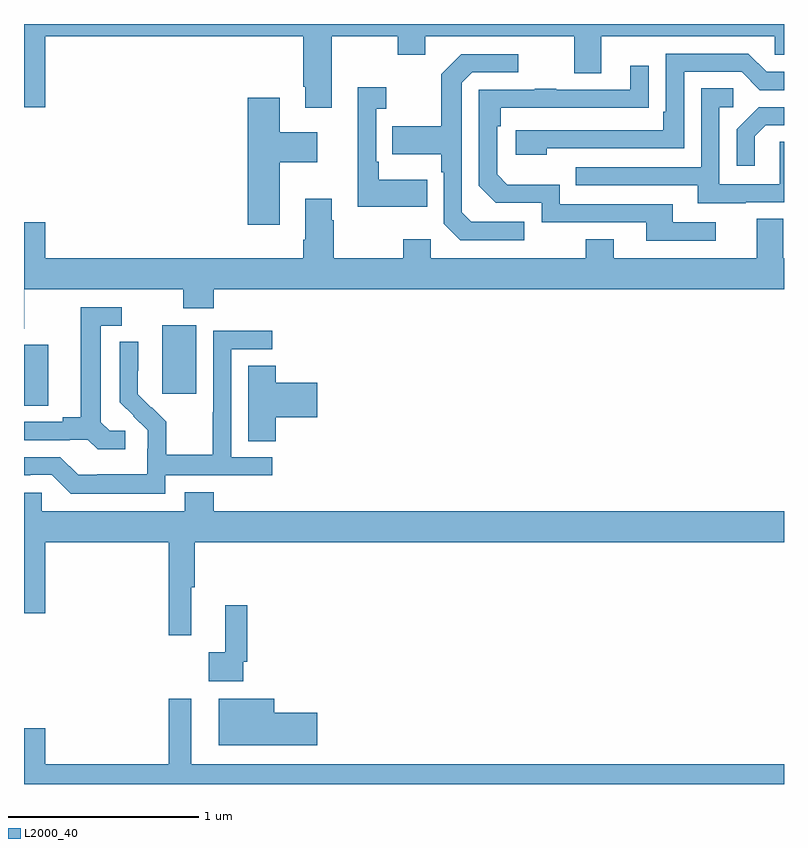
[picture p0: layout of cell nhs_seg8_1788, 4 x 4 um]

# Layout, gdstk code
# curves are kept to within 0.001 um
import gdstk
lib = gdstk.Library(unit=1e-6, precision=1e-09)
def R(c, l, rs):  # rectangles x0, y0, x1, y1
    for r in rs: c.add(gdstk.rectangle(r[:2], r[2:], *l))
def P(c, l, *ps):  # polygons
    for p in ps: c.add(gdstk.Polygon(p, *l))
L2000_40 = (2000, 40)

nhs_seg8_1788 = lib.new_cell('nhs_seg8_1788')
R(nhs_seg8_1788, L2000_40, [(225,1111.891,225.127,1112.211), (225.728,1111.953,225.907,1112.314)])
P(nhs_seg8_1788, L2000_40, [(226.621,1113.836),(226.966,1113.836),(226.966,1113.737),(227.113,1113.737),(227.113,1113.836),(227.897,1113.836),(227.897,1113.642),(228.037,1113.642),(228.037,1113.836),(228.951,1113.836),(228.951,1113.738),(229,1113.738),(229,1113.9),(225,1113.9),(225,1113.462),(225.112,1113.462),(225.112,1113.836),(226.469,1113.836),(226.469,1113.571),(226.481,1113.571),(226.481,1113.459),(226.621,1113.459)],
  [(227.75,1113.246),(228.474,1113.246),(228.474,1113.648),(228.777,1113.648),(228.873,1113.552),(229,1113.552),(229,1113.648),(228.909,1113.648),(228.813,1113.744),(228.378,1113.744),(228.378,1113.439),(228.365,1113.439),(228.365,1113.342),(227.589,1113.342),(227.589,1113.212),(227.75,1113.212)],
  [(227.632,1112.859),(227.355,1112.859),(227.304,1112.91),(227.304,1113.591),(227.358,1113.645),(227.602,1113.645),(227.602,1113.741),(227.301,1113.741),(227.196,1113.635),(227.196,1113.363),(226.939,1113.363),(226.939,1113.215),(227.196,1113.215),(227.196,1113.119),(227.208,1113.119),(227.208,1112.85),(227.295,1112.763),(227.632,1112.763)],
  [(228.64,1112.856),(228.415,1112.856),(228.415,1112.952),(227.82,1112.952),(227.82,1113.055),(227.543,1113.055),(227.49,1113.108),(227.49,1113.362),(227.51,1113.362),(227.51,1113.459),(228.287,1113.46),(228.287,1113.679),(228.191,1113.679),(228.191,1113.555),(227.801,1113.555),(227.801,1113.56),(227.689,1113.56),(227.689,1113.555),(227.394,1113.555),(227.394,1113.048),(227.484,1112.958),(227.724,1112.958),(227.724,1112.856),(228.275,1112.856),(228.275,1112.76),(228.64,1112.76)],
  [(227.123,1113.079),(226.867,1113.079),(226.867,1113.175),(226.854,1113.175),(226.854,1113.455),(226.906,1113.455),(226.906,1113.568),(226.757,1113.568),(226.757,1112.939),(227.123,1112.939)],
  [(228.799,1112.961),(229,1112.961),(229,1113.281),(228.978,1113.281),(228.978,1113.057),(228.66,1113.057),(228.66,1113.462),(228.733,1113.462),(228.733,1113.563),(228.564,1113.563),(228.564,1113.147),(227.905,1113.147),(227.905,1113.051),(228.545,1113.051),(228.545,1112.957),(228.799,1112.957)],
  [(226.345,1113.173),(226.543,1113.173),(226.543,1113.331),(226.345,1113.331),(226.345,1113.511),(226.178,1113.511),(226.178,1112.844),(226.345,1112.844)],
  [(228.847,1113.309),(228.904,1113.366),(229,1113.366),(229,1113.462),(228.866,1113.462),(228.75,1113.346),(228.75,1113.153),(228.847,1113.153)],
  [(225.001,1112.504),(225.838,1112.504),(225.838,1112.405),(225.998,1112.405),(225.998,1112.504),(229,1112.504),(229,1112.668),(228.997,1112.668),(228.997,1112.876),(228.857,1112.876),(228.857,1112.668),(228.103,1112.668),(228.103,1112.767),(227.956,1112.767),(227.956,1112.668),(227.142,1112.668),(227.142,1112.767),(226.996,1112.767),(226.996,1112.668),(226.629,1112.668),(226.629,1112.867),(226.621,1112.867),(226.621,1112.98),(226.481,1112.98),(226.481,1112.764),(226.469,1112.764),(226.469,1112.668),(225.112,1112.668),(225.112,1112.857),(225,1112.857),(225,1112.296),(225.001,1112.296)],
  [(225.532,1111.758),(225.45,1111.758),(225.403,1111.805),(225.403,1112.313),(225.514,1112.313),(225.514,1112.409),(225.299,1112.409),(225.299,1111.829),(225.203,1111.829),(225.203,1111.806),(225,1111.806),(225,1111.71),(225.242,1111.71),(225.242,1111.713),(225.336,1111.713),(225.388,1111.661),(225.532,1111.661)],
  [(225.744,1111.524),(226.306,1111.524),(226.306,1111.62),(226.092,1111.62),(226.092,1112.187),(226.306,1112.187),(226.306,1112.286),(225.996,1112.286),(225.996,1111.856),(225.994,1111.856),(225.994,1111.633),(225.749,1111.633),(225.749,1111.807),(225.672,1111.884),(225.669,1111.881),(225.599,1111.952),(225.6,1112.228),(225.504,1112.228),(225.504,1111.91),(225.65,1111.762),(225.65,1111.665),(225.648,1111.665),(225.648,1111.531),(225.385,1111.531),(225.385,1111.527),(225.285,1111.527),(225.192,1111.62),(225,1111.62),(225,1111.524),(225.032,1111.524),(225.032,1111.527),(225.147,1111.527),(225.247,1111.427),(225.744,1111.427)],
  [(226.325,1111.829),(226.543,1111.829),(226.543,1112.012),(226.325,1112.012),(226.325,1112.102),(226.181,1112.102),(226.181,1111.705),(226.325,1111.705)],
  [(225.881,1110.936),(225.899,1110.936),(225.899,1111.172),(229,1111.172),(229,1111.336),(225.998,1111.336),(225.998,1111.435),(225.845,1111.435),(225.845,1111.336),(225.093,1111.336),(225.093,1111.434),(225,1111.434),(225,1110.798),(225.112,1110.798),(225.112,1111.172),(225.763,1111.172),(225.763,1110.684),(225.881,1110.684)],
  [(226.155,1110.544),(226.175,1110.544),(226.175,1110.841),(226.058,1110.841),(226.058,1110.593),(225.972,1110.593),(225.972,1110.44),(226.155,1110.44)],
  [(229,1110.004),(225.88,1110.004),(225.88,1110.349),(225.763,1110.349),(225.763,1110.004),(225.112,1110.004),(225.112,1110.193),(225,1110.193),(225,1109.9),(229,1109.9)],
  [(226.543,1110.275),(226.318,1110.275),(226.318,1110.349),(226.025,1110.349),(226.025,1110.104),(226.543,1110.104)])

lib.write_gds('nhs_seg8_1788.gds')
